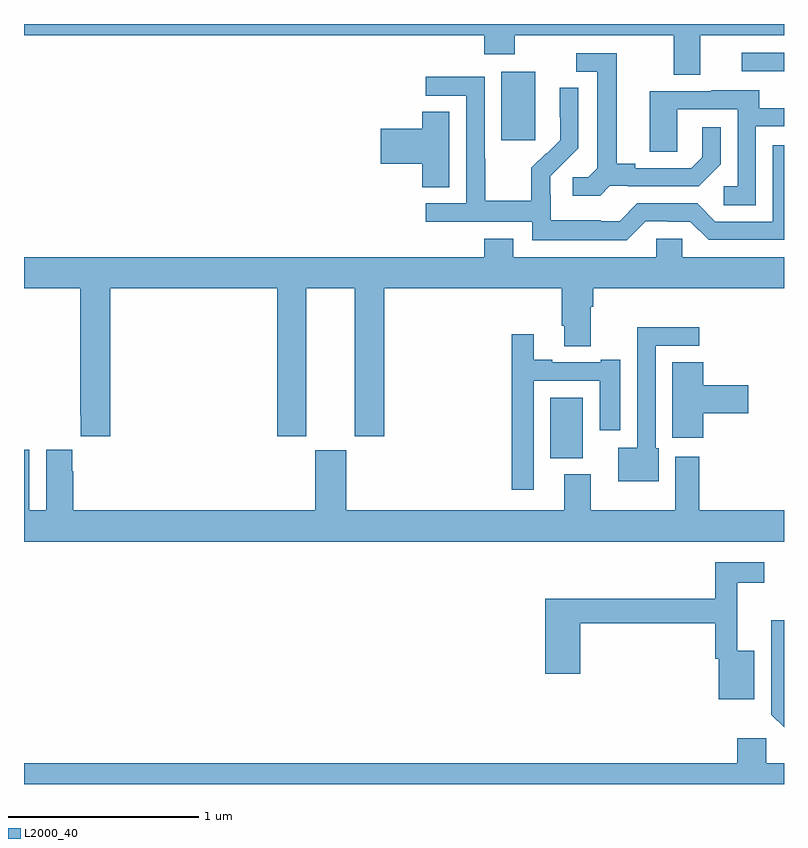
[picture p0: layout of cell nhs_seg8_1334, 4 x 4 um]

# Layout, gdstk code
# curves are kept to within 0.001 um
import gdstk
lib = gdstk.Library(unit=1e-6, precision=1e-09)
def R(c, l, rs):  # rectangles x0, y0, x1, y1
    for r in rs: c.add(gdstk.rectangle(r[:2], r[2:], *l))
def P(c, l, *ps):  # polygons
    for p in ps: c.add(gdstk.Polygon(p, *l))
L2000_40 = (2000, 40)

nhs_seg8_1334 = lib.new_cell('nhs_seg8_1334')
R(nhs_seg8_1334, L2000_40, [(197.771,1107.614,197.941,1107.934), (197.513,1109.289,197.692,1109.65), (198.777,1109.652,199,1109.748)])
P(nhs_seg8_1334, L2000_40, [(198.559,1109.84),(199,1109.84),(199,1109.9),(195,1109.9),(195,1109.84),(197.423,1109.84),(197.423,1109.741),(197.583,1109.741),(197.583,1109.84),(198.419,1109.84),(198.419,1109.632),(198.559,1109.632)],
  [(198.084,1109.049),(198.178,1109.049),(198.178,1109.046),(198.55,1109.046),(198.666,1109.162),(198.666,1109.356),(198.569,1109.356),(198.569,1109.199),(198.512,1109.142),(198.217,1109.142),(198.217,1109.165),(198.121,1109.165),(198.121,1109.745),(197.907,1109.745),(197.907,1109.649),(198.017,1109.649),(198.017,1109.141),(197.97,1109.094),(197.889,1109.094),(197.889,1108.997),(198.032,1108.997)],
  [(198.273,1108.863),(198.389,1108.863),(198.389,1108.86),(198.507,1108.86),(198.603,1108.764),(199,1108.764),(199,1109.262),(198.942,1109.262),(198.942,1108.86),(198.639,1108.86),(198.543,1108.956),(198.228,1108.956),(198.135,1108.863),(198.035,1108.863),(198.035,1108.867),(197.772,1108.867),(197.772,1109.001),(197.77,1109.001),(197.77,1109.098),(197.916,1109.246),(197.916,1109.564),(197.82,1109.564),(197.82,1109.41),(197.822,1109.41),(197.822,1109.288),(197.751,1109.217),(197.748,1109.22),(197.671,1109.143),(197.671,1108.969),(197.427,1108.969),(197.427,1109.192),(197.424,1109.192),(197.424,1109.622),(197.115,1109.622),(197.115,1109.523),(197.328,1109.523),(197.328,1108.956),(197.115,1108.956),(197.115,1108.86),(197.676,1108.86),(197.676,1108.763),(198.173,1108.763)],
  [(198.852,1109.361),(199,1109.361),(199,1109.457),(198.871,1109.457),(198.871,1109.551),(198.617,1109.551),(198.617,1109.547),(198.293,1109.547),(198.293,1109.227),(198.438,1109.227),(198.438,1109.451),(198.756,1109.451),(198.756,1109.046),(198.684,1109.046),(198.684,1108.945),(198.852,1108.945)],
  [(197.239,1109.438),(197.096,1109.438),(197.096,1109.348),(196.878,1109.348),(196.878,1109.165),(197.096,1109.165),(197.096,1109.041),(197.239,1109.041)],
  [(195.455,1108.508),(196.334,1108.508),(196.334,1107.729),(196.486,1107.729),(196.486,1108.508),(196.742,1108.508),(196.742,1107.729),(196.895,1107.729),(196.895,1108.508),(197.831,1108.508),(197.831,1108.312),(197.843,1108.312),(197.843,1108.204),(197.983,1108.204),(197.983,1108.412),(197.996,1108.412),(197.996,1108.508),(199,1108.508),(199,1108.672),(198.465,1108.672),(198.465,1108.77),(198.327,1108.77),(198.327,1108.672),(197.575,1108.672),(197.575,1108.771),(197.423,1108.771),(197.423,1108.672),(195,1108.672),(195,1108.508),(195.295,1108.508),(195.295,1107.841),(195.299,1107.841),(195.299,1107.729),(195.455,1107.729)],
  [(198.34,1107.666),(198.324,1107.666),(198.324,1108.206),(198.553,1108.206),(198.553,1108.304),(198.228,1108.304),(198.228,1107.67),(198.128,1107.67),(198.128,1107.494),(198.34,1107.494)],
  [(197.682,1108.023),(198.029,1108.023),(198.029,1107.762),(198.139,1107.762),(198.139,1108.132),(198.035,1108.132),(198.035,1108.119),(197.779,1108.119),(197.779,1108.132),(197.683,1108.132),(197.683,1108.267),(197.566,1108.267),(197.566,1107.45),(197.682,1107.45)],
  [(198.575,1107.851),(198.811,1107.851),(198.811,1107.998),(198.575,1107.998),(198.575,1108.121),(198.413,1108.121),(198.413,1107.723),(198.575,1107.723)],
  [(199,1107.34),(198.554,1107.34),(198.554,1107.622),(198.428,1107.622),(198.428,1107.34),(197.983,1107.34),(197.983,1107.529),(197.843,1107.529),(197.843,1107.34),(196.696,1107.34),(196.696,1107.657),(196.532,1107.657),(196.532,1107.34),(195.26,1107.34),(195.26,1107.545),(195.253,1107.545),(195.253,1107.658),(195.116,1107.658),(195.116,1107.34),(195.028,1107.34),(195.028,1107.658),(195,1107.658),(195,1107.176),(199,1107.176)],
  [(198.844,1106.602),(198.755,1106.602),(198.755,1106.958),(198.895,1106.958),(198.895,1107.066),(198.637,1107.066),(198.637,1106.875),(197.744,1106.875),(197.744,1106.481),(197.927,1106.481),(197.927,1106.746),(198.637,1106.746),(198.637,1106.559),(198.656,1106.559),(198.656,1106.345),(198.844,1106.345)],
  [(199,1106.761),(198.933,1106.761),(198.933,1106.265),(199,1106.198)],
  [(199,1106.008),(198.906,1106.008),(198.906,1106.14),(198.755,1106.14),(198.755,1106.008),(195,1106.008),(195,1105.9),(199,1105.9)])

lib.write_gds('nhs_seg8_1334.gds')
